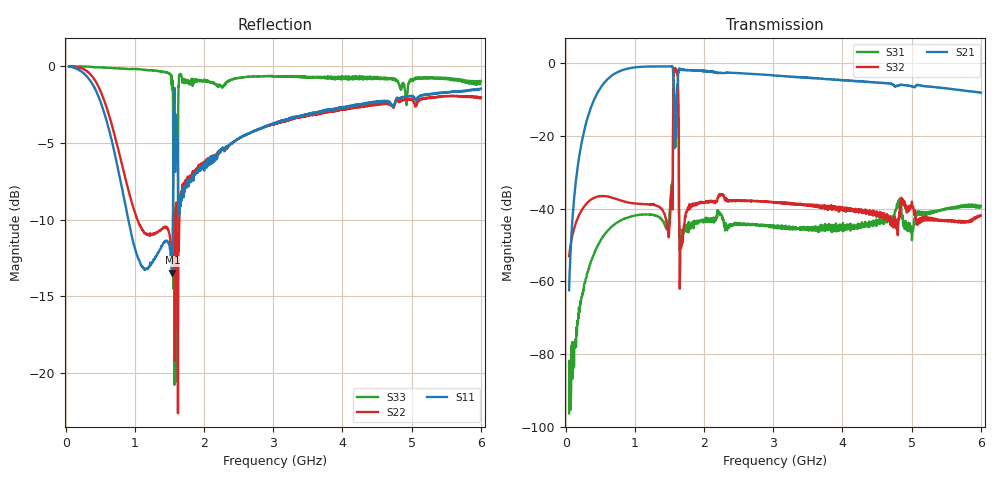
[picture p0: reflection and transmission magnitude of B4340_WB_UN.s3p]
! Matrix data file written by TouchstoneData, EPCOS AG
! FILENAME: "AB81A_X22Y20_WB.pli.snp"
! COMMENT: "(TS/AB81A_X22Y20_WB.s3p) Epcos AG 10/2/2013"
! INFO: nport=3, nfreq=1601
! DATE: "Wed Oct  9 11:10:17 2013"
! USER: "Wee Chuan Tay"
! port | pin | signal
!  1  |  3  |  Non-GPS
!  2  |  6  |  Antenna
!  3  |  1  |  GPS
# MHZ S RI R 50
! freq  reS11 imS11  reS12 imS12  reS13 imS13  ...
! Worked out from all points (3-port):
!   1601 points, 50 MHz to 6 GHz, reference 50 ohm
!   strongest paths, dB at 50 MHz, 1.538 GHz, 3.025 GHz, 4.513 GHz, 6 GHz:
!     S21: -62.5, -0.8, -3.3, -5.3, -8.1
!     S32: -53.1, -33.9, -38.2, -41.2, -41.9
!     S31: -96.3, -33.6, -45.0, -43.6, -39.3
!   lowest |S11| = -13.5 dB at 1.541 GHz (marker M1), VSWR 1.54, Z = 34.3 - j8.87 ohm
!   |S11| at or under -10 dB: 906.3 MHz to 1.55 GHz (644 MHz wide, 52.4 % of centre)
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50  0.9315 -0.3556  -0.000583 -0.000478  2.2e-06 1.51e-05
    -0.000583 -0.000478  0.9814 -0.1879  0.000311 0.0022
    2.2e-06 1.51e-05  0.000311 0.0022  0.9952 -0.0736
195.0312  0.2119 -0.9472  -0.049 -0.0177  0.000395 -3.47e-06
          -0.049 -0.0177  0.7386 -0.6593  0.00403 0.00715
          0.000395 -3.47e-06  0.00403 0.00715  0.9595 -0.2728
451.625  -0.7617 -0.3019  -0.2705 0.266  0.000178 -0.00294
         -0.2705 0.266  -0.0621 -0.8759  0.0133 0.00591
         0.000178 -0.00294  0.0133 0.00591  0.8038 -0.5798
771.4375  -0.2379 0.3764  0.2024 0.7472  -0.00663 -0.000947
          0.2024 0.7472  -0.389 -0.3494  0.0132 -0.000836
          -0.00663 -0.000947  0.0132 -0.000836  0.5035 -0.8428
1478  0.114 -0.2421  0.9041 -0.038  -0.00416 0.00337
      0.9041 -0.038  -0.1748 -0.2351  0.0021 -0.00461
      -0.00416 0.00337  0.0021 -0.00461  -0.4787 -0.8227
1541.219  -0.1728 -0.1233  0.7519 -0.4902  -0.0183 0.00326
          0.7519 -0.4902  -0.1168 -0.1952  -0.0183 0.000167
          -0.0183 0.00326  -0.0183 0.000167  -0.88 -0.1923
1597  0.6696 -0.0141  0.1742 0.2442  0.174 0.1965
      0.1742 0.2442  -0.2065 -0.2945  0.6149 -0.4548
      0.174 0.1965  0.6149 -0.4548  -0.2677 -0.2092
1675.094  0.2418 -0.2925  0.7798 0.2448  -0.00471 -0.00146
          0.7798 0.2448  -0.00598 -0.3925  0.00131 -0.00291
          -0.00471 -0.00146  0.00131 -0.00291  0.2723 -0.8843
3025  -0.2937 -0.5825  0.5598 -0.3871  0.00323 0.00463
      0.5598 -0.3871  -0.4574 -0.4589  0.00886 -0.00848
      0.00323 0.00463  0.00886 -0.00848  -0.6735 -0.6352
6000  -0.8164 -0.2191  0.05 -0.3914  0.00309 0.0104
      0.05 -0.3914  -0.7871 0.0847  -0.00529 -0.00609
      0.00309 0.0104  -0.00529 -0.00609  -0.8633 0.2275
